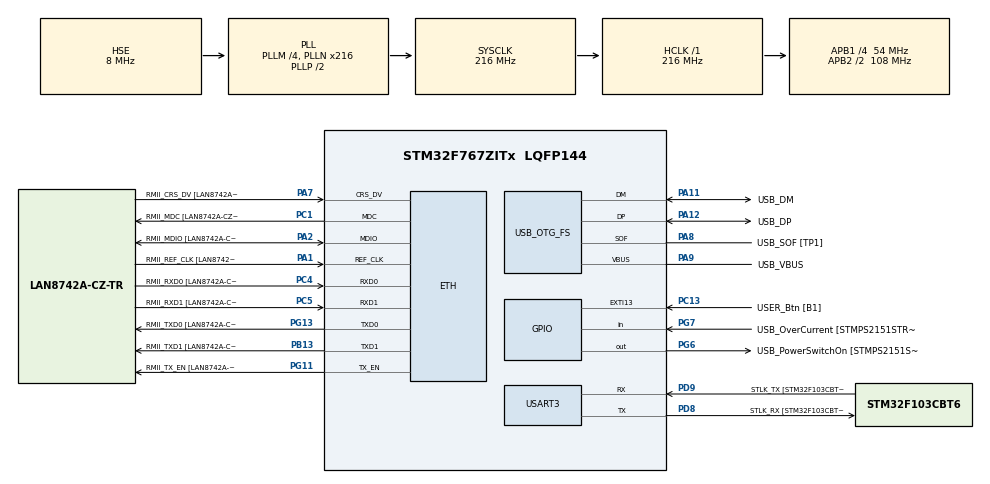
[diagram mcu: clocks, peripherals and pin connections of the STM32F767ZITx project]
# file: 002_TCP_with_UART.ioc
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ETH.MediaInterface=HAL_ETH_RMII_MODE
ETH.PHY_Name=LAN8742A_PHY_ADDRESS
ETH.PHY_Value=0
ETH.PhyAddress=0
LWIP.BSP.number=1
LWIP.GATEWAY_ADDRESS=192.168.001.001
LWIP.IP_ADDRESS=192.168.000.027
LWIP.LWIP_DHCP=0
LWIP.LWIP_NETIF_LOOPBACK=0
LWIP.LWIP_RAM_HEAP_POINTER=0x20004000
LWIP.NETMASK_ADDRESS=255.255.255.000
LWIP.Version=v2.1.2_Cube
LWIP0.BSP.STBoard=false
LWIP0.BSP.api=BSP_COMPONENT_DRIVER
LWIP0.BSP.component=LAN8742
LWIP0.BSP.instance=LAN8742
LWIP0.BSP.name=Driver_PHY
LWIP0.BSP.semaphore=S_LAN8742
LWIP0.BSP.solution=LAN8742
Mcu.Family=STM32F7
Mcu.Name=STM32F767ZITx
Mcu.Package=LQFP144
NVIC.PriorityGroup=NVIC_PRIORITYGROUP_4
NVIC.TIM3_IRQn=true\:0\:0\:false\:false\:true\:true\:true\:true
NVIC.USART3_IRQn=true\:0\:0\:false\:false\:true\:true\:true\:true
PA1.GPIO_Label=RMII_REF_CLK [LAN8742A-CZ-TR_REFCLK0]
PA1.Mode=RMII
PA1.Signal=ETH_REF_CLK
PA10.GPIO_Label=USB_ID
PA10.Signal=USB_OTG_FS_ID
PA11.GPIO_Label=USB_DM
PA11.Mode=Device_Only
PA11.Signal=USB_OTG_FS_DM
PA12.GPIO_Label=USB_DP
PA12.Mode=Device_Only
PA12.Signal=USB_OTG_FS_DP
PA13.GPIO_Label=TMS
PA13.Mode=Serial_Wire
PA13.Signal=SYS_JTMS-SWDIO
PA14.GPIO_Label=TCK
PA14.Mode=Serial_Wire
PA14.Signal=SYS_JTCK-SWCLK
PA2.GPIO_Label=RMII_MDIO [LAN8742A-CZ-TR_MDIO]
PA2.Mode=RMII
PA2.Signal=ETH_MDIO
PA7.GPIO_Label=RMII_CRS_DV [LAN8742A-CZ-TR_CRS_DV]
PA7.Mode=RMII
PA7.Signal=ETH_CRS_DV
PA8.GPIO_Label=USB_SOF [TP1]
PA8.Mode=Activate_SOF_FS
PA8.Signal=USB_OTG_FS_SOF
PA9.GPIO_Label=USB_VBUS
PA9.Mode=Activate_VBUS
PA9.Signal=USB_OTG_FS_VBUS
PB13.GPIO_Label=RMII_TXD1 [LAN8742A-CZ-TR_TXD1]
PB13.Mode=RMII
PB13.Signal=ETH_TXD1
PB14.Signal=USART1_TX
PB3.GPIO_Label=SWO
PB3.Signal=SYS_JTDO-SWO
PB7.Signal=USART1_RX
PC1.GPIO_Label=RMII_MDC [LAN8742A-CZ-TR_MDC]
PC1.Mode=RMII
PC1.Signal=ETH_MDC
PC13.GPIO_Label=USER_Btn [B1]
PC13.Signal=GPXTI13
PC14/OSC32_IN.Mode=LSE-External-Oscillator
PC14/OSC32_IN.Signal=RCC_OSC32_IN
PC15/OSC32_OUT.Mode=LSE-External-Oscillator
PC15/OSC32_OUT.Signal=RCC_OSC32_OUT
PC4.GPIO_Label=RMII_RXD0 [LAN8742A-CZ-TR_RXD0]
PC4.Mode=RMII
PC4.Signal=ETH_RXD0
PC5.GPIO_Label=RMII_RXD1 [LAN8742A-CZ-TR_RXD1]
PC5.Mode=RMII
PC5.Signal=ETH_RXD1
PD8.GPIO_Label=STLK_RX [STM32F103CBT6_PA3]
PD8.Mode=Asynchronous
PD8.Signal=USART3_TX
PD9.GPIO_Label=STLK_TX [STM32F103CBT6_PA2]
PD9.Mode=Asynchronous
PD9.Signal=USART3_RX
PG11.GPIO_Label=RMII_TX_EN [LAN8742A-CZ-TR_TXEN]
PG11.Mode=RMII
PG11.Signal=ETH_TX_EN
PG13.GPIO_Label=RMII_TXD0 [LAN8742A-CZ-TR_TXD0]
PG13.Mode=RMII
PG13.Signal=ETH_TXD0
PG6.GPIO_Label=USB_PowerSwitchOn [STMPS2151STR_EN]
PG6.Signal=GPIO_Output
PG7.GPIO_Label=USB_OverCurrent [STMPS2151STR_FAULT]
PG7.Signal=GPIO_Input
PH0/OSC_IN.GPIO_Label=MCO [STM32F103CBT6_PA8]
PH0/OSC_IN.Mode=HSE-External-Clock-Source
PH0/OSC_IN.Signal=RCC_OSC_IN
PH1/OSC_OUT.Mode=HSE-External-Clock-Source
PH1/OSC_OUT.Signal=RCC_OSC_OUT
ProjectManager.HeapSize=0x200
ProjectManager.StackSize=0x400
ProjectManager.TargetToolchain=STM32CubeIDE
RCC.48MHZClocksFreq_Value=24000000
RCC.AHBFreq_Value=216000000
RCC.APB1CLKDivider=RCC_HCLK_DIV4
RCC.APB1Freq_Value=54000000
RCC.APB1TimFreq_Value=108000000
RCC.APB2CLKDivider=RCC_HCLK_DIV2
RCC.APB2Freq_Value=108000000
RCC.APB2TimFreq_Value=216000000
RCC.CortexFreq_Value=216000000
RCC.HCLKFreq_Value=216000000
RCC.HSE_VALUE=8000000
RCC.HSI_VALUE=16000000
RCC.PLLM=4
RCC.PLLMUL=RCC_PLL_MUL9
RCC.PLLN=216
RCC.PLLQ=9
RCC.PRESCALERUSB=RCC_USBCLKSOURCE_PLL_DIV1_5
RCC.SYSCLKFreq_VALUE=216000000
RCC.SYSCLKSource=RCC_SYSCLKSOURCE_PLLCLK
RCC.SYSCLKSourceVirtual=RCC_SYSCLKSOURCE_PLLCLK
RCC.USBFreq_Value=48000000
RCC.VCOOutputFreq_Value=432000000
TIM3.Period=999
TIM3.Prescaler=215
USART3.VirtualMode-Asynchronous=VM_ASYNC
USB_OTG_FS.VirtualMode=Device_Only
VP_LWIP_VS_Enabled.Mode=Enabled
VP_TIM3_VS_ClockSourceINT.Mode=Internal
board=NUCLEO-F767ZI

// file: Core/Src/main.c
/* USER CODE BEGIN Header */
/**
  ******************************************************************************
  * @file           : main.c
  * @brief          : Main program body
  ******************************************************************************
  * @attention
  *
  * Copyright (c) 2025 STMicroelectronics.
  * All rights reserved.
  *
  * This software is licensed under terms that can be found in the LICENSE file
  * in the root directory of this software component.
  * If no LICENSE file comes with this software, it is provided AS-IS.
  *
  ******************************************************************************
  */
/* USER CODE END Header */
#include "main.h"
#include "lwip.h"
#include "tim.h"
#include "usart.h"
#include "usb_otg.h"
#include "gpio.h"

/* USER CODE BEGIN Includes */
#include "lwip_uart_comm.h"
/* USER CODE END Includes */

void SystemClock_Config(void);

int main(void)
{

  /* MCU Configuration--------------------------------------------------------*/

  /* Reset of all peripherals, Initializes the Flash interface and the Systick. */
  HAL_Init();

  /* Configure the system clock */
  SystemClock_Config();

  /* Initialize all configured peripherals */
  MX_GPIO_Init();
  MX_USART3_UART_Init();
  MX_USB_OTG_FS_PCD_Init();
  MX_LWIP_Init();
  MX_TIM3_Init();
  /* USER CODE BEGIN 2 */
  tcp_server_init();
  HAL_UART_Receive_IT(&huart3, &rx_data, 1);
  HAL_TIM_Base_Start_IT(&htim3);
  /* USER CODE END 2 */

  /* Infinite loop */
  while (1)
  {

    /* USER CODE BEGIN 3 */
      MX_LWIP_Process();
  }
  /* USER CODE END 3 */
}

void SystemClock_Config(void)
{
  RCC_OscInitTypeDef RCC_OscInitStruct = {0};
  RCC_ClkInitTypeDef RCC_ClkInitStruct = {0};

  /** Configure LSE Drive Capability
  */
  HAL_PWR_EnableBkUpAccess();

  /** Configure the main internal regulator output voltage
  */
  __HAL_RCC_PWR_CLK_ENABLE();
  __HAL_PWR_VOLTAGESCALING_CONFIG(PWR_REGULATOR_VOLTAGE_SCALE1);

  /** Initializes the RCC Oscillators according to the specified parameters
  * in the RCC_OscInitTypeDef structure.
  */
  RCC_OscInitStruct.OscillatorType = RCC_OSCILLATORTYPE_HSE;
  RCC_OscInitStruct.HSEState = RCC_HSE_BYPASS;
  RCC_OscInitStruct.PLL.PLLState = RCC_PLL_ON;
  RCC_OscInitStruct.PLL.PLLSource = RCC_PLLSOURCE_HSE;
  RCC_OscInitStruct.PLL.PLLM = 4;
  RCC_OscInitStruct.PLL.PLLN = 216;
  RCC_OscInitStruct.PLL.PLLP = RCC_PLLP_DIV2;
  RCC_OscInitStruct.PLL.PLLQ = 9;
  RCC_OscInitStruct.PLL.PLLR = 2;
  if (HAL_RCC_OscConfig(&RCC_OscInitStruct) != HAL_OK)
  {
    Error_Handler();
  }

  /** Activate the Over-Drive mode
  */
  if (HAL_PWREx_EnableOverDrive() != HAL_OK)
  {
    Error_Handler();
  }

  /** Initializes the CPU, AHB and APB buses clocks
  */
  RCC_ClkInitStruct.ClockType = RCC_CLOCKTYPE_HCLK|RCC_CLOCKTYPE_SYSCLK
                              |RCC_CLOCKTYPE_PCLK1|RCC_CLOCKTYPE_PCLK2;
  RCC_ClkInitStruct.SYSCLKSource = RCC_SYSCLKSOURCE_PLLCLK;
  RCC_ClkInitStruct.AHBCLKDivider = RCC_SYSCLK_DIV1;
  RCC_ClkInitStruct.APB1CLKDivider = RCC_HCLK_DIV4;
  RCC_ClkInitStruct.APB2CLKDivider = RCC_HCLK_DIV2;

  if (HAL_RCC_ClockConfig(&RCC_ClkInitStruct, FLASH_LATENCY_7) != HAL_OK)
  {
    Error_Handler();
  }
}

/* USER CODE BEGIN 4 */
/**
 * @brief  UART RX Callback
 */
void HAL_UART_RxCpltCallback(UART_HandleTypeDef *huart)
{
    if (huart->Instance == USART3)
    {
        uart_receive_callback();
    }
}

volatile uint16_t timer_counter = 0;

void HAL_TIM_PeriodElapsedCallback(TIM_HandleTypeDef *htim)
{
    if (htim->Instance == TIM3)
    {
        timer_counter++;

        if (timer_counter >= 10)
        {
            send_uart_data_to_tcp();
            timer_counter = 0;
        }
    }
}

/* USER CODE END 4 */

void Error_Handler(void)
{
  __disable_irq();
  while (1)
  {
  }
}
